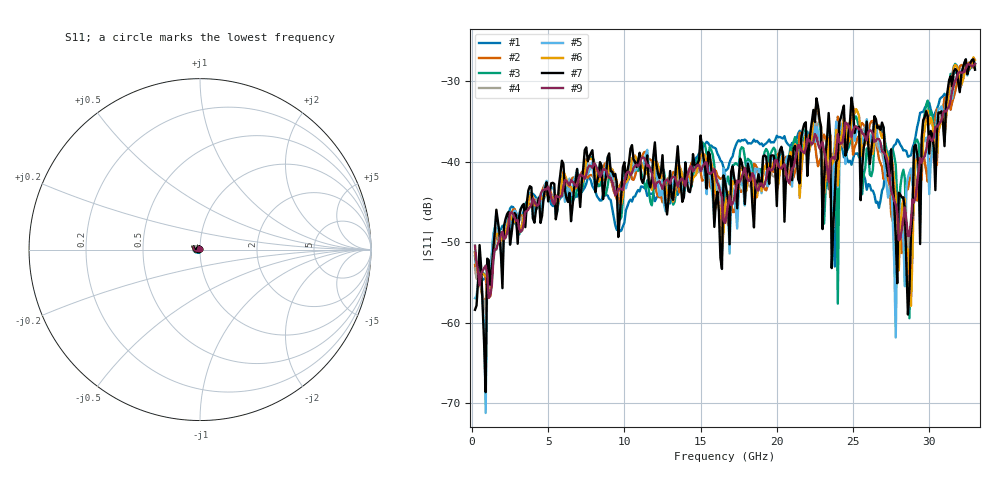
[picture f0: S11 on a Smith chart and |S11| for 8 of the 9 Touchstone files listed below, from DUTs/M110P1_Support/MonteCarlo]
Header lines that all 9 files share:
# GHZ S RI R 50
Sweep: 200 MHz to 33 GHz
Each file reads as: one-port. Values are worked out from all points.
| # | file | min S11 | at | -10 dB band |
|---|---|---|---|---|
| 1 | M110P1_84.s2p | -55.5 dB | 1.1 GHz | over 32.8 GHz wide |
| 2 | M110P1_85.s2p | -57.6 dB | 900 MHz | over 32.8 GHz wide |
| 3 | M110P1_86.s2p | -59.5 dB | 28.7 GHz | over 32.8 GHz wide |
| 4 | M110P1_89.s2p | -58.9 dB | 900 MHz | over 32.8 GHz wide |
| 5 | M110P1_92.s2p | -71.2 dB | 900 MHz | over 32.8 GHz wide |
| 6 | M110P1_94.s2p | -57.9 dB | 28.8 GHz | over 32.8 GHz wide |
| 7 | M110P1_95.s2p | -68.6 dB | 900 MHz | over 32.8 GHz wide |
| 8 | M110P1_96.s2p | -65.3 dB | 23.8 GHz | over 32.8 GHz wide |
| 9 | M110P1_100.s2p | -56.9 dB | 1.1 GHz | over 32.8 GHz wide |
